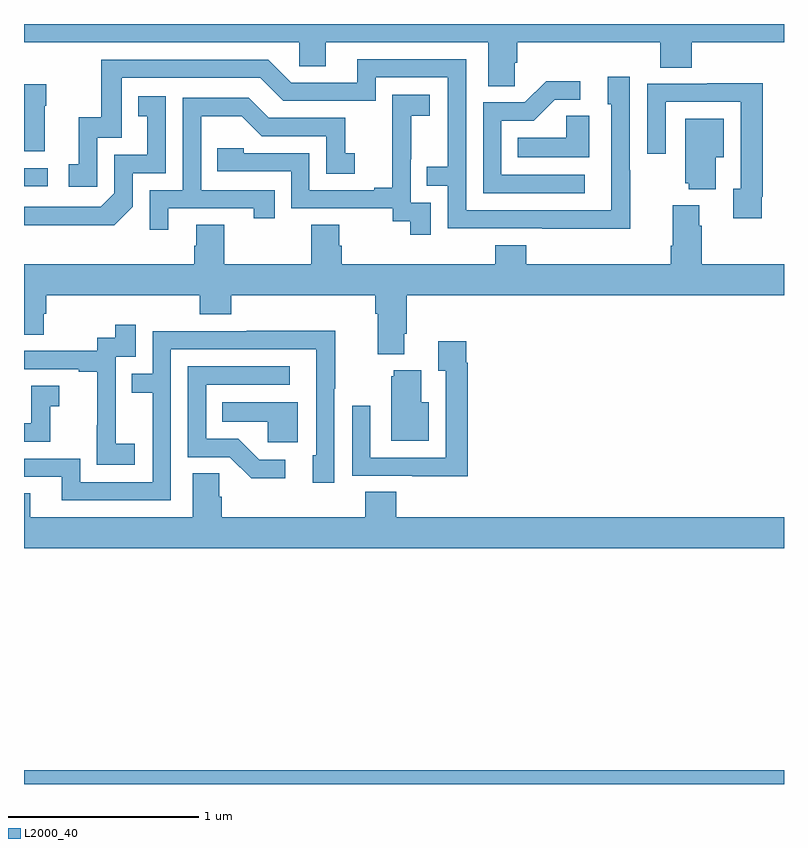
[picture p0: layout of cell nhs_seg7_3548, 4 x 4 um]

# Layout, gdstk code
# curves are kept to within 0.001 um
import gdstk
lib = gdstk.Library(unit=1e-6, precision=1e-09)
def R(c, l, rs):  # rectangles x0, y0, x1, y1
    for r in rs: c.add(gdstk.rectangle(r[:2], r[2:], *l))
def P(c, l, *ps):  # polygons
    for p in ps: c.add(gdstk.Polygon(p, *l))
L2000_40 = (2000, 40)

nhs_seg7_3548 = lib.new_cell('nhs_seg7_3548')
R(nhs_seg7_3548, L2000_40, [(337,1042,341,1042.072), (337,1045.146,337.126,1045.242)])
P(nhs_seg7_3548, L2000_40, [(339.582,1045.795),(339.596,1045.795),(339.596,1045.904),(340.349,1045.904),(340.349,1045.771),(340.514,1045.771),(340.514,1045.904),(341,1045.904),(341,1046),(337,1046),(337,1045.904),(338.448,1045.904),(338.448,1045.777),(338.587,1045.777),(338.587,1045.904),(339.443,1045.904),(339.443,1045.672),(339.582,1045.672)],
  [(340.191,1045.229),(340.188,1045.229),(340.188,1045.723),(340.073,1045.723),(340.073,1045.578),(340.092,1045.578),(340.092,1045.02),(339.327,1045.02),(339.327,1045.815),(338.753,1045.815),(338.753,1045.692),(338.406,1045.692),(338.286,1045.812),(337.407,1045.812),(337.407,1045.51),(337.289,1045.51),(337.289,1045.263),(337.236,1045.263),(337.236,1045.143),(337.386,1045.143),(337.386,1045.401),(337.515,1045.401),(337.515,1045.716),(338.244,1045.716),(338.364,1045.596),(338.85,1045.596),(338.85,1045.719),(339.231,1045.719),(339.231,1045.25),(339.121,1045.25),(339.121,1045.149),(339.231,1045.149),(339.231,1044.924),(340.191,1044.923)],
  [(339.952,1045.206),(339.513,1045.206),(339.513,1045.491),(339.682,1045.491),(339.793,1045.602),(339.928,1045.602),(339.928,1045.7),(339.749,1045.7),(339.636,1045.587),(339.417,1045.587),(339.417,1045.11),(339.952,1045.11)],
  [(340.882,1045.09),(340.889,1045.09),(340.889,1045.688),(340.597,1045.688),(340.597,1045.686),(340.281,1045.686),(340.281,1045.317),(340.377,1045.317),(340.377,1045.59),(340.773,1045.59),(340.773,1045.134),(340.733,1045.134),(340.733,1044.978),(340.882,1044.978)],
  [(337.108,1045.571),(337.116,1045.571),(337.116,1045.684),(337,1045.684),(337,1045.331),(337.108,1045.331)],
  [(339.141,1045.059),(339.036,1045.059),(339.036,1045.289),(339.038,1045.289),(339.038,1045.517),(339.136,1045.517),(339.136,1045.627),(338.938,1045.627),(338.938,1045.421),(338.939,1045.421),(338.939,1045.138),(338.843,1045.138),(338.843,1045.125),(338.502,1045.125),(338.502,1045.32),(338.157,1045.32),(338.157,1045.347),(338.017,1045.347),(338.017,1045.224),(338.406,1045.224),(338.406,1045.029),(338.94,1045.029),(338.94,1044.961),(339.033,1044.961),(339.033,1044.891),(339.141,1044.891)],
  [(337.572,1045.038),(337.572,1045.215),(337.746,1045.215),(337.746,1045.621),(337.6,1045.621),(337.6,1045.515),(337.649,1045.515),(337.649,1045.311),(337.476,1045.311),(337.476,1045.11),(337.404,1045.038),(337,1045.038),(337,1044.942),(337.066,1044.941),(337.474,1044.941)],
  [(337.759,1045.029),(338.21,1045.029),(338.21,1044.978),(338.321,1044.978),(338.321,1045.125),(337.932,1045.125),(337.932,1045.514),(338.146,1045.514),(338.25,1045.41),(338.592,1045.41),(338.592,1045.212),(338.74,1045.212),(338.74,1045.321),(338.691,1045.321),(338.691,1045.506),(338.287,1045.506),(338.182,1045.611),(337.836,1045.611),(337.836,1045.125),(337.662,1045.125),(337.662,1044.918),(337.759,1044.918)],
  [(339.976,1045.517),(339.855,1045.517),(339.855,1045.402),(339.598,1045.402),(339.598,1045.298),(339.976,1045.298)],
  [(340.642,1045.298),(340.684,1045.298),(340.684,1045.501),(340.481,1045.501),(340.481,1045.161),(340.499,1045.161),(340.499,1045.13),(340.642,1045.13)],
  [(341,1044.736),(340.568,1044.736),(340.568,1044.938),(340.555,1044.938),(340.555,1045.045),(340.415,1045.045),(340.415,1044.832),(340.403,1044.832),(340.403,1044.736),(339.644,1044.736),(339.644,1044.835),(339.479,1044.835),(339.479,1044.736),(338.672,1044.736),(338.672,1044.834),(338.659,1044.834),(338.659,1044.944),(338.512,1044.944),(338.512,1044.736),(338.055,1044.736),(338.055,1044.944),(337.907,1044.944),(337.907,1044.834),(337.895,1044.834),(337.895,1044.736),(337,1044.736),(337,1044.364),(337.105,1044.364),(337.105,1044.474),(337.118,1044.474),(337.118,1044.572),(337.925,1044.572),(337.925,1044.473),(338.09,1044.473),(338.09,1044.572),(338.849,1044.572),(338.849,1044.476),(338.861,1044.476),(338.861,1044.263),(339.001,1044.263),(339.001,1044.37),(339.014,1044.37),(339.014,1044.572),(341,1044.572)],
  [(337.582,1043.791),(337.484,1043.791),(337.484,1044.02),(337.482,1044.02),(337.482,1044.249),(337.587,1044.249),(337.587,1044.418),(337.479,1044.418),(337.479,1044.348),(337.386,1044.348),(337.386,1044.279),(337,1044.279),(337,1044.183),(337.289,1044.183),(337.289,1044.171),(337.385,1044.171),(337.385,1043.887),(337.384,1043.887),(337.384,1043.681),(337.582,1043.681)],
  [(337.773,1044.288),(338.537,1044.288),(338.537,1044.037),(338.538,1044.037),(338.538,1043.73),(338.519,1043.73),(338.519,1043.586),(338.634,1043.586),(338.634,1044.079),(338.637,1044.079),(338.637,1044.386),(338.173,1044.386),(338.173,1044.384),(337.677,1044.384),(337.677,1044.159),(337.567,1044.159),(337.567,1044.058),(337.677,1044.058),(337.677,1043.589),(337.296,1043.589),(337.296,1043.712),(337,1043.712),(337,1043.616),(337.199,1043.616),(337.199,1043.493),(337.773,1043.493)],
  [(339.335,1044.218),(339.328,1044.218),(339.328,1044.331),(339.179,1044.331),(339.179,1044.175),(339.219,1044.175),(339.219,1043.718),(338.823,1043.718),(338.823,1043.992),(338.727,1043.992),(338.727,1043.622),(339.043,1043.622),(339.043,1043.621),(339.335,1043.621)],
  [(338.374,1043.706),(338.239,1043.706),(338.128,1043.817),(337.959,1043.817),(337.959,1044.102),(338.398,1044.102),(338.398,1044.198),(337.863,1044.198),(337.863,1043.721),(338.082,1043.721),(338.195,1043.609),(338.374,1043.609)],
  [(339.13,1044.01),(339.091,1044.01),(339.091,1044.178),(338.945,1044.178),(338.945,1044.147),(338.933,1044.147),(338.933,1043.807),(339.13,1043.807)],
  [(337.137,1043.987),(337.186,1043.987),(337.186,1044.097),(337.038,1044.097),(337.038,1043.898),(337,1043.898),(337,1043.802),(337.137,1043.802)],
  [(338.44,1044.01),(338.044,1044.01),(338.044,1043.906),(338.283,1043.906),(338.283,1043.798),(338.44,1043.798)],
  [(341,1043.404),(338.96,1043.404),(338.96,1043.537),(338.795,1043.537),(338.795,1043.404),(338.042,1043.404),(338.042,1043.513),(338.028,1043.513),(338.028,1043.636),(337.889,1043.636),(337.889,1043.404),(337.033,1043.404),(337.033,1043.531),(337,1043.531),(337,1043.24),(341,1043.24)])

lib.write_gds('nhs_seg7_3548.gds')
